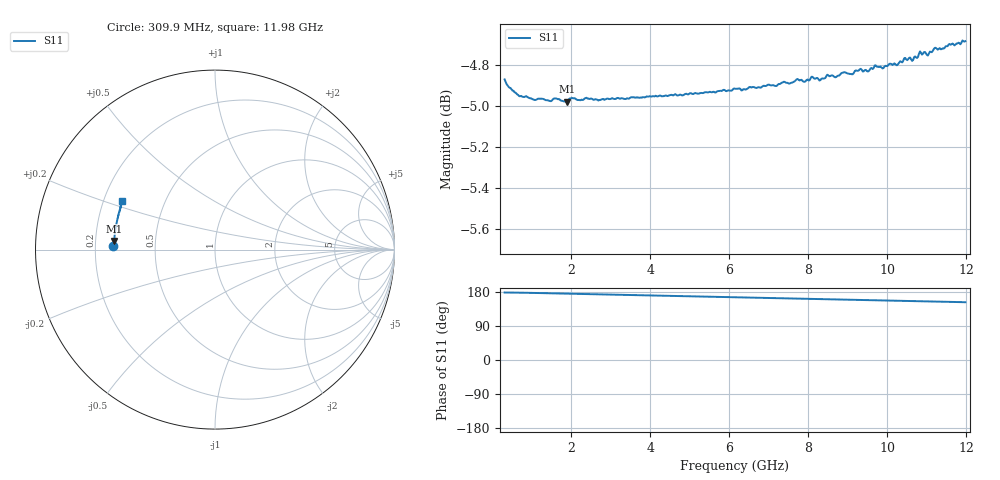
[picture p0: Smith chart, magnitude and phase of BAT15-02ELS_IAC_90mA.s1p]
! Infineon Technologies  Discrete & RF Semiconductors
! BAT15-02ELS
! IAC = 90 mA
! One-Port S-Parameters
# Hz  S  MA  R  50
!f  S11
!Hz  Mag  Ang
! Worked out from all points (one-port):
!   468 points, 309.9 MHz to 11.98 GHz, reference 50 ohm
!   lowest |S11| = -5.0 dB at 1.884 GHz (marker M1), VSWR 3.58, Z = 14 + j1.94 ohm
!   |S11| at or under -10 dB: nowhere
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3.0985e8  0.5707 178.1
6.346875e8  0.5659 177.7
8.096e8  0.5651 177.5
1.784112e9  0.5639 175.4
1.884062e9  0.5637 175.2
3.233388e9  0.5646 172.0
4.70765e9  0.5656 168.7
6.156925e9  0.5677 165.5
7.456275e9  0.5696 162.6
7.6062e9  0.5698 162.2
7.831088e9  0.5706 161.8
8.030988e9  0.5704 161.2
8.2059e9  0.5711 160.9
8.4058e9  0.571 160.4
8.630688e9  0.5719 160.0
8.780612e9  0.572 159.5
8.930538e9  0.573 159.3
9.080462e9  0.5725 158.9
9.730138e9  0.5748 157.5
9.980012e9  0.575 156.8
1.017991e10  0.5759 156.4
1.052974e10  0.5772 155.6
1.077961e10  0.578 154.9
1.095452e10  0.5796 154.8
1.112944e10  0.5795 154.2
1.130435e10  0.5806 154.0
1.147926e10  0.5814 153.5
1.197901e10  0.5831 152.5
